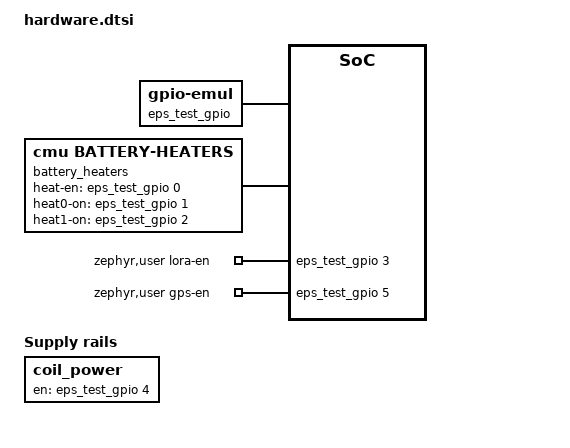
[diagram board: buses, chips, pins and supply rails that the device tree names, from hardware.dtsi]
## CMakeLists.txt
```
# SPDX-License-Identifier: Apache-2.0
cmake_minimum_required(VERSION 3.20.0)
get_filename_component(ARGUS_ROOT "${CMAKE_CURRENT_LIST_DIR}/../../.." ABSOLUTE)
list(APPEND DTS_ROOT "${ARGUS_ROOT}" "${ARGUS_ROOT}/boards/cmu/argus")
find_package(Zephyr REQUIRED HINTS $ENV{ZEPHYR_BASE})
project(eps_hardware_test)
target_sources(app PRIVATE
    src/main.c
    ${ARGUS_ROOT}/src/tasks/eps_hardware.c
    ${ARGUS_ROOT}/src/apps/eps/eps.c
    ${ARGUS_ROOT}/src/tasks/eps.c
    ${ARGUS_ROOT}/src/drivers/adm1176.c
    ${ARGUS_ROOT}/src/drivers/battery_heaters.c
    ${ARGUS_ROOT}/src/drivers/drv8235.c
    ${ARGUS_ROOT}/src/drivers/max17205.c
    ${ARGUS_ROOT}/tests/drivers/adm1176/src/adm1176_emul.c
    ${ARGUS_ROOT}/tests/drivers/drv8235/src/drv8235_emul.c
    ${ARGUS_ROOT}/tests/drivers/max17205/src/max17205_emul.c
)
target_include_directories(app PRIVATE
    ${ARGUS_ROOT}/include
    ${ARGUS_ROOT}/tests/drivers/adm1176/src
    ${ARGUS_ROOT}/tests/drivers/drv8235/src
    ${ARGUS_ROOT}/tests/drivers/max17205/src
)
```

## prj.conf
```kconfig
CONFIG_ZTEST=y
CONFIG_I2C=y
CONFIG_SENSOR=y
CONFIG_FUEL_GAUGE=y
CONFIG_EMUL=y
CONFIG_GPIO=y
CONFIG_GPIO_EMUL=y
CONFIG_REGULATOR=y
CONFIG_MAIN_STACK_SIZE=4096
CONFIG_ZTEST_STACK_SIZE=4096
CONFIG_STACK_SENTINEL=y
CONFIG_INIT_STACKS=y
CONFIG_THREAD_STACK_INFO=y
```

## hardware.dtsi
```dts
/* SPDX-License-Identifier: Apache-2.0 */
#include <zephyr/dt-bindings/gpio/gpio.h>

/ {
	eps_test_gpio: gpio-test {
		compatible = "zephyr,gpio-emul";
		gpio-controller;
		#gpio-cells = <2>;
		ngpios = <8>;
	};

	battery_heaters: battery-heaters {
		compatible = "cmu,battery-heaters";
		heat-en-gpios = <&eps_test_gpio 0 GPIO_ACTIVE_HIGH>;
		heat0-on-gpios = <&eps_test_gpio 1 GPIO_ACTIVE_HIGH>;
		heat1-on-gpios = <&eps_test_gpio 2 GPIO_ACTIVE_HIGH>;
	};

	zephyr,user {
		lora-en-gpios = <&eps_test_gpio 3 GPIO_ACTIVE_HIGH>;
		gps-en-gpios = <&eps_test_gpio 5 GPIO_ACTIVE_HIGH>;
	};

	coil_power: coil-supply {
		compatible = "regulator-fixed";
		regulator-name = "coil-test";
		enable-gpios = <&eps_test_gpio 4 GPIO_ACTIVE_HIGH>;
	};
};
```

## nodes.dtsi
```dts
main_power_monitor: adm1176@40 {
	compatible = "adi,adm1176";
	reg = <0x40>;
	rshunt-micro-ohms = <10000>;
};
gps_power_monitor: adm1176@41 {
	compatible = "adi,adm1176";
	reg = <0x41>;
	rshunt-micro-ohms = <10000>;
};
radio_power_monitor: adm1176@42 {
	compatible = "adi,adm1176";
	reg = <0x42>;
	rshunt-micro-ohms = <10000>;
	zephyr,deferred-init;
};
jetson_power_monitor: adm1176@46 {
	compatible = "adi,adm1176";
	reg = <0x46>;
	rshunt-micro-ohms = <10000>;
};
fuel_gauge: max17205@36 {
	compatible = "maxim,max17205";
	reg = <0x36>;
	rsense-micro-ohms = <10000>;
};

/* Distinct test addresses let one emulated controller represent all axes. */
#define EPS_TEST_COIL(label, node, addr) \
	label: node { \
		compatible = "ti,drv8235"; \
		reg = <addr>; \
		vm-supply = <&coil_power>; \
		max-output-microvolt = <6000000>; \
		coil-resistance-milliohm = <25000>; \
	};

EPS_TEST_COIL(torque_xp, drv8235@30, 0x30)
EPS_TEST_COIL(torque_xm, drv8235@31, 0x31)
EPS_TEST_COIL(torque_yp, drv8235@32, 0x32)
EPS_TEST_COIL(torque_ym, drv8235@33, 0x33)
EPS_TEST_COIL(torque_zp, drv8235@34, 0x34)
EPS_TEST_COIL(torque_zm, drv8235@35, 0x35)
```

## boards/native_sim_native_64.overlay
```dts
#include "../hardware.dtsi"

&i2c0 {
#include "../nodes.dtsi"
};
```

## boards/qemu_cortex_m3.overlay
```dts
#include <zephyr/dt-bindings/i2c/i2c.h>
#include "../hardware.dtsi"

/ {
	fake_i2c: i2c@100 {
		compatible = "zephyr,i2c-emul-controller";
		reg = <0x100 4>;
		clock-frequency = <I2C_BITRATE_STANDARD>;
		#address-cells = <1>;
		#size-cells = <0>;
		status = "okay";
#include "../nodes.dtsi"
	};
};
```

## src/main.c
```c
/* SPDX-License-Identifier: Apache-2.0 */
#include "argus/tasks/eps_task.h"
#include "adm1176_emul.h"
#include "drv8235_emul.h"
#include "max17205_emul.h"
#include "argus/drivers/adm1176.h"
#include "argus/drivers/battery_heaters.h"
#include "argus/drivers/max17205.h"

#include <errno.h>
#include <string.h>
#include <zephyr/drivers/gpio/gpio_emul.h>
#include <zephyr/drivers/regulator.h>
#include <zephyr/ztest.h>

static const struct emul *const main_emul = EMUL_DT_GET(DT_NODELABEL(main_power_monitor));
static const struct emul *const gps_emul = EMUL_DT_GET(DT_NODELABEL(gps_power_monitor));
static const struct emul *const radio_emul = EMUL_DT_GET(DT_NODELABEL(radio_power_monitor));
static const struct emul *const jetson_emul = EMUL_DT_GET(DT_NODELABEL(jetson_power_monitor));
static const struct emul *const gauge_emul = EMUL_DT_GET(DT_NODELABEL(fuel_gauge));
static const struct emul *const coil_emuls[EPS_COIL_COUNT] = {
	[EPS_XP] = EMUL_DT_GET(DT_NODELABEL(torque_xp)),
	[EPS_XM] = EMUL_DT_GET(DT_NODELABEL(torque_xm)),
	[EPS_YP] = EMUL_DT_GET(DT_NODELABEL(torque_yp)),
	[EPS_YM] = EMUL_DT_GET(DT_NODELABEL(torque_ym)),
	[EPS_ZP] = EMUL_DT_GET(DT_NODELABEL(torque_zp)),
	[EPS_ZM] = EMUL_DT_GET(DT_NODELABEL(torque_zm)),
};
static const struct device *const gpio = DEVICE_DT_GET(DT_NODELABEL(eps_test_gpio));
static const struct gpio_dt_spec gps_power =
	GPIO_DT_SPEC_GET(DT_PATH(zephyr_user), gps_en_gpios);
static struct eps_state state;
static struct eps_io io;
static int32_t full_fields[EPS_FIELD_COUNT];
static uint16_t full_valid;
static uint16_t warning_valid;

static void publish(void *context, bool full, const int32_t *fields, size_t count,
		    uint16_t valid)
{
	ARG_UNUSED(context);
	zassert_equal(count, full ? EPS_FIELD_COUNT : EPS_WARNING_COUNT);
	if (full) {
		memcpy(full_fields, fields, sizeof(full_fields));
		full_valid = valid;
	} else {
		warning_valid = valid;
	}
}

static void set_monitor(const struct emul *emul, uint16_t voltage, uint16_t current)
{
	struct adm1176_emul_state *s = adm1176_emul_state(emul);

	s->sample[0] = voltage >> 4;
	s->sample[1] = current >> 4;
	s->sample[2] = ((voltage & 0xf) << 4) | (current & 0xf);
}

static void *setup(void)
{
	zassert_false(device_is_ready(DEVICE_DT_GET(DT_NODELABEL(radio_power_monitor))));
	zassert_false(regulator_is_enabled(DEVICE_DT_GET(DT_NODELABEL(coil_power))));
	io = eps_hardware_io();
	zassert_true(device_is_ready(DEVICE_DT_GET(DT_NODELABEL(radio_power_monitor))));
	zassert_equal(gpio_emul_output_get(gpio, 3), 1);
	zassert_equal(gpio_emul_output_get(gps_power.port, gps_power.pin), 1);
	zassert_true(regulator_is_enabled(DEVICE_DT_GET(DT_NODELABEL(coil_power))));
	zassert_equal(gpio_emul_output_get(gpio, 4), 1);
	zassert_equal(gpio_emul_output_get(gpio, 0), 0);
	zassert_equal(gpio_emul_output_get(gpio, 1), 0);
	zassert_equal(gpio_emul_output_get(gpio, 2), 0);
	io.publish = publish;
	return NULL;
}

static void before(void *fixture)
{
	ARG_UNUSED(fixture);
	adm1176_emul_reset(main_emul);
	adm1176_emul_reset(gps_emul);
	zassert_ok(adm1176_config(DEVICE_DT_GET(DT_NODELABEL(main_power_monitor)), 0x05));
	zassert_ok(adm1176_config(DEVICE_DT_GET(DT_NODELABEL(gps_power_monitor)), 0x05));
	set_monitor(main_emul, 514, 14);
	set_monitor(gps_emul, 514, 1);
	set_monitor(radio_emul, 600, 20);
	set_monitor(jetson_emul, 1300, 24);
	for (enum eps_axis axis = EPS_XM; axis < EPS_COIL_COUNT; ++axis) {
		drv8235_emul_set_reg(coil_emuls[axis], 0x04, axis);
	}
	drv8235_emul_set_reg(coil_emuls[EPS_XP], 0x04, 30);
	drv8235_emul_set_reg(coil_emuls[EPS_XP], 0x05, 192);
	drv8235_emul_set_reg(coil_emuls[EPS_XP], 0x0d, 0x0d); /* reverse */
	max17205_emul_reset(gauge_emul);
	max17205_emul_set_reg(gauge_emul, 0x36, 0x06, 27 << 8);
	max17205_emul_set_reg(gauge_emul, 0x36, 0x05, 5626);
	max17205_emul_set_reg(gauge_emul, 0x36, 0x0a, (uint16_t)-102);
	max17205_emul_set_reg(gauge_emul, 0x36, 0xda, 6451);
	max17205_emul_set_reg(gauge_emul, 0x36, 0x09, 51536);
	max17205_emul_set_reg(gauge_emul, 0x36, 0x11, 1000);
	max17205_emul_set_reg(gauge_emul, 0x36, 0x20, 320);
	max17205_emul_set_reg(gauge_emul, 0x36, 0x08, 5811);
	max17205_emul_set_reg(gauge_emul, 0x0b, 0x34, 2959);
	max17205_emul_set_reg(gauge_emul, 0x0b, 0x3b, 2958);
	max17205_emul_set_reg(gauge_emul, 0x0b, 0x35, 2952);
	eps_init(&state);
	zassert_ok(io.set_heaters(NULL, false, false));
	memset(full_fields, 0, sizeof(full_fields));
	full_valid = 0;
	warning_valid = 0;
}

static void five_runs(void)
{
	for (int i = 1; i <= 5; ++i) {
		(void)eps_step(&state, &io, i);
	}
}

ZTEST(eps_hardware, test_drivers_to_complete_eps_record)
{
	five_runs();
	const int32_t expected[EPS_FIELD_COUNT] = {
		5, 1, 0, 3306, 36, 2260, 2275, 2265, 2205, 27, 2813, -15,
		8063, 4026, 5580, 1800,
		-5019, -3700, 167, 0, 334, 0, 501, 0, 669, 0, 836, 0,
		8363, 62, 3859, 51, 3306, 2,
		0, 0, 0, 0, 0, 0, 0, 0, 0, 0,
	};

	for (size_t i = 0; i < ARRAY_SIZE(expected); ++i) {
		zassert_equal(full_fields[i], expected[i], "field %u: got %ld, expected %ld",
			      (unsigned int)i, (long)full_fields[i], (long)expected[i]);
	}
	zassert_equal(warning_valid, 0x3ff);
	zassert_equal(full_valid, 0xbff);
	zassert_equal(state.power_flag, EPS_LOW_POWER);
}

ZTEST(eps_hardware, test_monitor_error_and_recovery_to_true_zero)
{
	(void)eps_step(&state, &io, 1);
	adm1176_emul_state(main_emul)->error = -EIO;
	(void)eps_step(&state, &io, 2);
	zassert_equal(warning_valid, 0x3fe);
	zassert_equal(state.fields[EPS_MAIN_MV], 0);
	set_monitor(main_emul, 0, 0);
	(void)eps_step(&state, &io, 3);
	zassert_equal(warning_valid, 0x3ff);
	zassert_equal(state.fields[EPS_MAIN_MV], 0);
	zassert_equal(state.fields[EPS_MAIN_MA], 0);
}

ZTEST(eps_hardware, test_gauge_failure_then_recovery)
{
	five_runs();
	max17205_emul_set_nack(gauge_emul, true);
	five_runs();
	zassert_equal(full_valid, 0x3ff);
	zassert_equal(full_fields[EPS_SOC_PCT], 0);
	zassert_equal(state.power_flag, EPS_LOW_POWER);
	max17205_emul_set_nack(gauge_emul, false);
	five_runs();
	zassert_equal(full_valid, 0xbff);
	zassert_equal(full_fields[EPS_SOC_PCT], 27);
}

ZTEST(eps_hardware, test_signed_pack_and_exact_shadow_offset)
{
	max17205_emul_set_reg(gauge_emul, 0x36, 0x08, 0xff00);
	max17205_emul_set_reg(gauge_emul, 0x0b, 0x34, 2732);
	max17205_emul_set_reg(gauge_emul, 0x0b, 0x3b, 2731);
	five_runs();
	zassert_equal(full_fields[EPS_PACK_TEMP_CC], -100);
	zassert_equal(full_fields[EPS_AIN1_TEMP_CC], 5);
	zassert_equal(full_fields[EPS_AIN2_TEMP_CC], -5);
	zassert_equal(full_fields[EPS_HEATER1], 0);
	zassert_equal(full_fields[EPS_HEATER2], 1);
	zassert_equal(gpio_emul_output_get(gpio, 0), 1);
	zassert_equal(gpio_emul_output_get(gpio, 1), 0);
	zassert_equal(gpio_emul_output_get(gpio, 2), 1);
}

ZTEST(eps_hardware, test_heater_shared_enable_and_hysteresis)
{
	struct battery_heaters_errors errors;
	const struct device *heaters = DEVICE_DT_GET(DT_NODELABEL(battery_heaters));

	zassert_true(device_is_ready(heaters));
	max17205_emul_set_reg(gauge_emul, 0x0b, 0x34, 2731);
	max17205_emul_set_reg(gauge_emul, 0x0b, 0x3b, 2731);
	five_runs();
	zassert_equal(gpio_emul_output_get(gpio, 0), 1);
	zassert_equal(gpio_emul_output_get(gpio, 1), 1);
	zassert_equal(gpio_emul_output_get(gpio, 2), 1);

	/* Both pad levels must match the commands recorded by the driver. */
	zassert_ok(battery_heaters_device_errors(heaters, &errors));
	zassert_equal(errors.count, 0);

	/* 2782 dK is 5.05 C, above the 5 C exit threshold. */
	max17205_emul_set_reg(gauge_emul, 0x0b, 0x34, 2782);
	five_runs();
	zassert_equal(gpio_emul_output_get(gpio, 0), 1);
	zassert_equal(gpio_emul_output_get(gpio, 1), 0);
	zassert_equal(gpio_emul_output_get(gpio, 2), 1);

	max17205_emul_set_reg(gauge_emul, 0x0b, 0x3b, 2782);
	five_runs();
	zassert_equal(gpio_emul_output_get(gpio, 0), 0);
	zassert_equal(gpio_emul_output_get(gpio, 2), 0);
	zassert_equal(full_fields[EPS_HEATER1], 0);
	zassert_equal(full_fields[EPS_HEATER2], 0);
}

ZTEST(eps_hardware, test_coil_read_error_marks_only_affected_axis_invalid)
{
	drv8235_emul_set_error(coil_emuls[EPS_XP], -EIO);
	(void)eps_step(&state, &io, 1);
	zassert_equal(warning_valid, 0x3ef);
	zassert_equal(state.fields[EPS_XP_MV], 0);
	(void)eps_step(&state, &io, 2);
	zassert_equal(warning_valid, 0x3ef);
	drv8235_emul_set_error(coil_emuls[EPS_XP], 0);
	(void)eps_step(&state, &io, 3);
	zassert_equal(warning_valid, 0x3ff);
	zassert_equal(state.fields[EPS_XP_MV], -5019);
	drv8235_emul_set_error(coil_emuls[EPS_XP], -EIO);
	(void)eps_step(&state, &io, 4);
	zassert_equal(warning_valid, 0x3ef);
	drv8235_emul_set_error(coil_emuls[EPS_XP], 0);
}

/* Ten 1 Hz invocations produce ten warning records and two full records. */
static struct {
	int64_t uptime_ms;
	bool full;
} thread_records[12];
static size_t record_count;
static k_tid_t publisher;
static K_SEM_DEFINE(records_ready, 0, 1);

static void observe_publish(void *context, bool full, const int32_t *fields, size_t count,
			    uint16_t valid)
{
	if (record_count < ARRAY_SIZE(thread_records)) {
		publisher = k_current_get();
		thread_records[record_count].uptime_ms = k_uptime_get();
		thread_records[record_count].full = full;
		eps_console_publish(context, full, fields, count, valid);
		if (++record_count == ARRAY_SIZE(thread_records)) {
			k_sem_give(&records_ready);
		}
	}
}

ZTEST(eps_hardware, test_thread_priority_and_periodic_records)
{
	struct eps_io observed_io = io;

	observed_io.publish = observe_publish;
	eps_start(observed_io);
	int ret = k_sem_take(&records_ready, K_SECONDS(12));

	zassert_not_null(publisher);
	zassert_not_equal(publisher, k_current_get());
	int priority = k_thread_priority_get(publisher);

	if (IS_ENABLED(CONFIG_ARM)) {
		size_t unused;

		zassert_ok(k_thread_stack_space_get(publisher, &unused));
		printk("EPS test thread stack high-water mark: %zu / %zu bytes\n",
		       publisher->stack_info.size - unused, publisher->stack_info.size);
	}
	k_thread_abort(publisher);
	zassert_ok(ret);
	zassert_equal(priority, K_PRIO_PREEMPT(2));
	size_t index = 0;

	for (int run = 1; run <= 10; ++run) {
		zassert_false(thread_records[index].full);
		int64_t elapsed = thread_records[index].uptime_ms - thread_records[0].uptime_ms;

		zassert_within(elapsed, (run - 1) * 1000, 100);
		++index;
		if (run % 5 == 0) {
			zassert_true(thread_records[index].full);
			++index;
		}
	}
}

ZTEST_SUITE(eps_hardware, NULL, setup, before, NULL, NULL);
```
